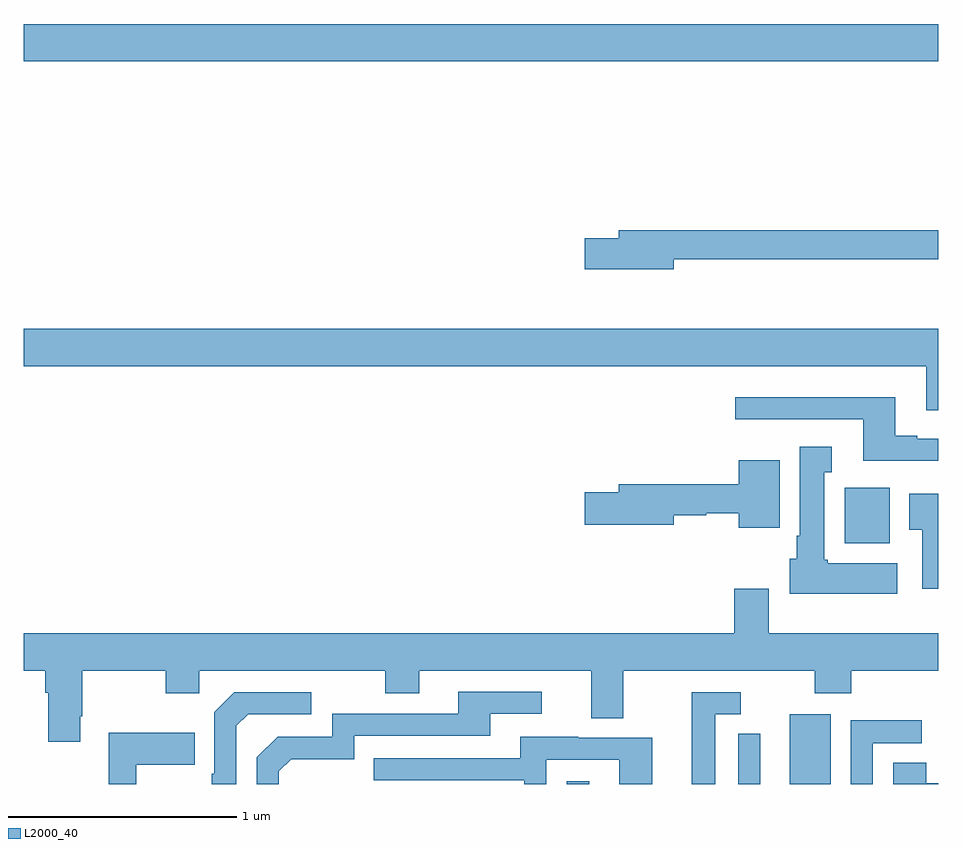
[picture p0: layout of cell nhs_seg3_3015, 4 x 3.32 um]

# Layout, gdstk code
import gdstk
lib = gdstk.Library(unit=1e-6, precision=1e-09)
def R(c, l, rs):  # rectangles x0, y0, x1, y1
    for r in rs: c.add(gdstk.rectangle(r[:2], r[2:], *l))
def P(c, l, *ps):  # polygons
    for p in ps: c.add(gdstk.Polygon(p, *l))
L2000_40 = (2000, 40)

nhs_seg3_3015 = lib.new_cell('nhs_seg3_3015')
R(nhs_seg3_3015, L2000_40, [(269.376,720.4,269.473,720.412), (270.35,720.4,270.529,720.706), (270.59,721.454,270.787,721.696), (267,723.56,271,723.724)])
P(nhs_seg3_3015, L2000_40, [(269.842,722.694),(271,722.694),(271,722.822),(269.603,722.822),(269.603,722.786),(269.454,722.786),(269.454,722.651),(269.842,722.651)],
  [(271,722.392),(267,722.392),(267,722.228),(270.947,722.228),(270.947,722.034),(271,722.034)],
  [(271,721.911),(270.907,721.911),(270.907,721.924),(270.811,721.924),(270.811,722.092),(270.111,722.092),(270.111,721.995),(270.671,721.995),(270.671,721.814),(271,721.814)],
  [(270.82,721.366),(270.516,721.366),(270.516,721.38),(270.502,721.38),(270.502,721.763),(270.535,721.763),(270.535,721.876),(270.395,721.876),(270.395,721.486),(270.38,721.486),(270.38,721.386),(270.35,721.386),(270.35,721.232),(270.82,721.232)],
  [(270.307,721.816),(270.128,721.816),(270.128,721.712),(269.603,721.712),(269.603,721.676),(269.454,721.676),(269.454,721.534),(269.842,721.534),(269.842,721.576),(269.985,721.576),(269.985,721.584),(270.128,721.584),(270.128,721.52),(270.307,721.52)],
  [(271,721.669),(270.872,721.669),(270.872,721.513),(270.929,721.513),(270.929,721.254),(271,721.254)],
  [(267,720.896),(267.095,720.896),(267.095,720.8),(267.107,720.8),(267.107,720.585),(267.247,720.585),(267.247,720.697),(267.255,720.697),(267.255,720.896),(267.622,720.896),(267.622,720.797),(267.768,720.797),(267.768,720.896),(268.582,720.896),(268.582,720.797),(268.729,720.797),(268.729,720.896),(269.483,720.896),(269.483,720.688),(269.623,720.688),(269.623,720.896),(270.46,720.896),(270.46,720.797),(270.62,720.797),(270.62,720.896),(271,720.896),(271,721.06),(270.259,721.06),(270.259,721.255),(270.107,721.255),(270.107,721.06),(267,721.06)],
  [(268.116,720.456),(268.169,720.509),(268.446,720.509),(268.446,720.612),(269.041,720.612),(269.041,720.708),(269.266,720.708),(269.266,720.804),(268.901,720.804),(268.901,720.708),(268.35,720.708),(268.35,720.606),(268.11,720.606),(268.02,720.516),(268.02,720.4),(268.116,720.4)],
  [(270.025,720.705),(270.136,720.705),(270.136,720.801),(269.921,720.801),(269.921,720.4),(270.025,720.4)],
  [(267.93,720.654),(267.981,720.705),(268.258,720.705),(268.258,720.801),(267.921,720.801),(267.834,720.714),(267.834,720.445),(267.822,720.445),(267.822,720.4),(267.93,720.4)],
  [(270.714,720.579),(270.928,720.579),(270.928,720.678),(270.618,720.678),(270.618,720.4),(270.714,720.4)],
  [(267.493,720.485),(267.749,720.485),(267.749,720.625),(267.372,720.625),(267.372,720.4),(267.493,720.4)],
  [(270.221,720.466),(270.222,720.466),(270.222,720.62),(270.126,720.62),(270.126,720.4),(270.221,720.4)],
  [(269.286,720.507),(269.604,720.507),(269.604,720.4),(269.749,720.4),(269.749,720.603),(269.425,720.603),(269.425,720.607),(269.171,720.607),(269.171,720.513),(268.531,720.513),(268.531,720.417),(269.19,720.417),(269.19,720.4),(269.286,720.4)],
  [(271,720.404),(270.947,720.404),(270.947,720.494),(270.803,720.494),(270.803,720.4),(271,720.4)])

lib.write_gds('nhs_seg3_3015.gds')
